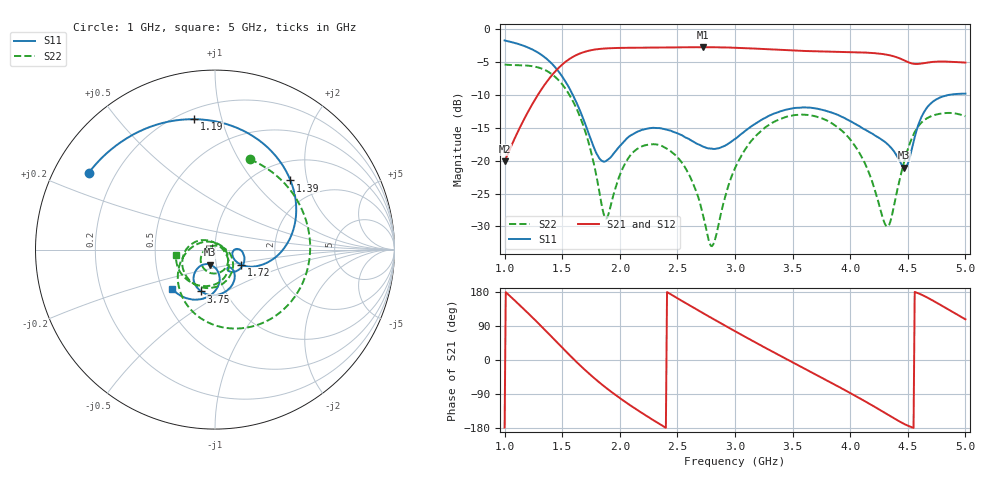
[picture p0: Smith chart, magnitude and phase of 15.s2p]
!Agilent Technologies,N5224A,MY51441093,A.09.90.21
!Agilent N5224A: A.09.90.21
!Date: Wednesday, October 01, 2025 16:40:30
!Correction: S11(Full 2 Port(1,2))
!S21(Full 2 Port(1,2))
!S12(Full 2 Port(1,2))
!S22(Full 2 Port(1,2))
!S2P File: Measurements: S11, S21, S12, S22:
# Hz S  dB  R 50
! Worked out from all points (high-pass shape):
!   401 points, 1 GHz to 5 GHz, reference 50 ohm
!   highest |S21| = -2.71 dB at 2.72 GHz (marker M1); lowest = -20.1 dB at 1 GHz (marker M2)
!   |S21| within 3 dB of the highest: 1.478 GHz to end of sweep
!   lowest |S11| = -21.0 dB at 4.47 GHz (marker M3), VSWR 1.19, Z = 46.5 - j7.81 ohm
!   |S11| at or under -10 dB: 1.593 GHz to 4.849 GHz (3.256 GHz wide, 101 % of centre)
!   |S22| runs from -33.0 to -5.4 dB; largest |S21 - S12| = 0.0041
!   S11 on the Smith chart (normalised r, x): 1 GHz: 0.10, +0.28; 1.19 GHz: 0.26, +0.82; 1.39 GHz: 1.39, +1.59; 1.72 GHz: 1.32, -0.23; 3.75 GHz: 0.77, -0.38; 5 GHz: 0.57, -0.28
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1e9  -1.69 148.6  -20.11 -178.2  -20.09 -178.3  -5.36 68.8
1.19e9  -2.67 99.0  -12.99 127.5  -12.98 127.5  -5.51 0.2
1.39e9  -4.88 42.5  -7.43 66.9  -7.42 66.9  -6.58 -68.1
1.54e9  -8.28 1.2  -4.79 20.2  -4.79 20.2  -9.34 -118.2
1.67e9  -13.05 -25.3  -3.57 -18.4  -3.56 -18.5  -14.02 -161.5
1.72e9  -15.37 -30.0  -3.30 -32.4  -3.29 -32.4  -16.67 -179.0
1.88e9  -20.04 -6.9  -2.90 -73.2  -2.88 -73.3  -28.81 64.9
2.09e9  -16.19 -5.7  -2.81 -119.5  -2.80 -119.5  -19.21 -51.5
2.34e9  -15.02 -34.5  -2.79 -168.0  -2.78 -167.9  -17.60 -105.5
2.56e9  -16.36 -54.6  -2.73 152.3  -2.72 152.3  -20.84 -150.1
2.72e9  -17.83 -57.8  -2.71 124.1  -2.69 124.1  -28.11 161.8
2.81e9  -18.20 -54.5  -2.72 108.5  -2.70 108.5  -32.79 79.8
3e9  -16.70 -48.6  -2.79 76.0  -2.77 76.0  -21.13 -16.0
3.34e9  -12.81 -68.6  -3.08 19.7  -3.06 19.7  -14.07 -79.7
3.67e9  -11.96 -100.8  -3.33 -33.3  -3.31 -33.4  -13.13 -133.1
3.75e9  -12.21 -108.2  -3.37 -46.2  -3.35 -46.3  -13.52 -146.2
4.05e9  -14.45 -128.8  -3.49 -95.5  -3.46 -95.7  -17.97 162.9
4.34e9  -17.74 -132.6  -3.94 -146.5  -3.90 -146.7  -29.70 32.2
4.47e9  -21.05 -109.8  -4.73 -169.0  -4.70 -169.2  -20.05 -40.4
4.57e9  -15.77 -80.8  -5.27 178.5  -5.25 178.3  -15.31 -75.5
4.68e9  -11.62 -97.6  -5.03 163.1  -5.00 162.8  -13.40 -108.0
5e9  -9.79 -137.1  -5.05 107.3  -5.04 107.1  -13.23 -172.6
